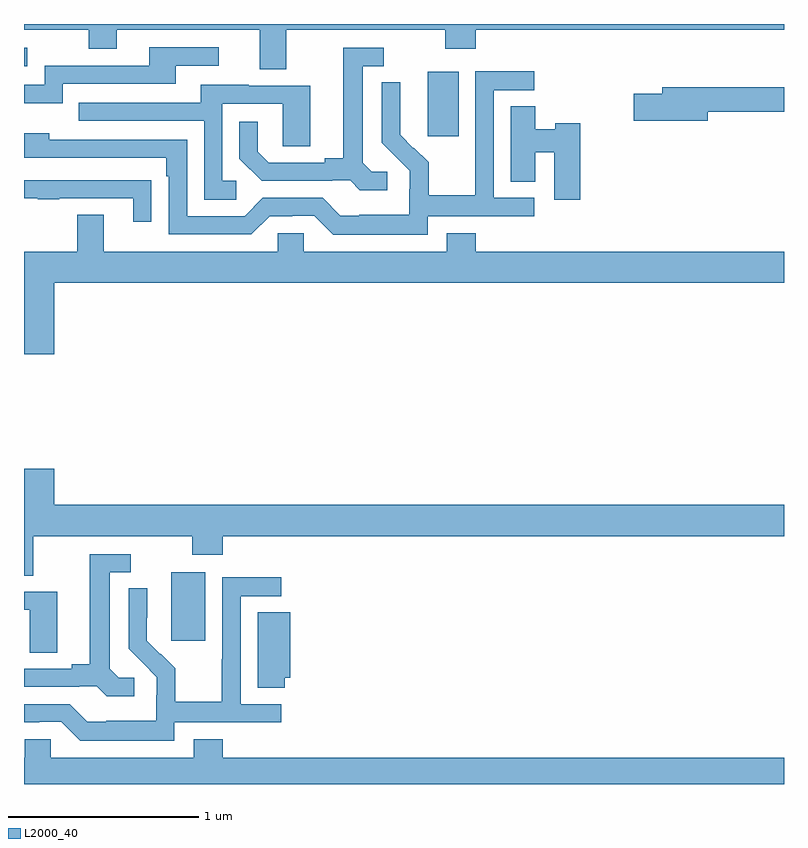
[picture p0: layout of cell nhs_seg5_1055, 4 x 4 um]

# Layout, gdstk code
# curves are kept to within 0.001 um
import gdstk
lib = gdstk.Library(unit=1e-6, precision=1e-09)
def R(c, l, rs):  # rectangles x0, y0, x1, y1
    for r in rs: c.add(gdstk.rectangle(r[:2], r[2:], *l))
def P(c, l, *ps):  # polygons
    for p in ps: c.add(gdstk.Polygon(p, *l))
L2000_40 = (2000, 40)

nhs_seg5_1055 = lib.new_cell('nhs_seg5_1055')
R(nhs_seg5_1055, L2000_40, [(177.776,845.553,177.955,845.914), (179.126,848.208,179.287,848.548), (177,848.577,177.016,848.673)])
P(nhs_seg5_1055, L2000_40, [(178.381,848.768),(179.218,848.768),(179.218,848.669),(179.378,848.669),(179.378,848.768),(181,848.768),(181,848.799),(177,848.799),(177,848.768),(177.34,848.768),(177.34,848.669),(177.487,848.669),(177.487,848.768),(178.241,848.768),(178.241,848.56),(178.381,848.56)],
  [(177.204,848.484),(177.799,848.484),(177.799,848.58),(178.024,848.58),(178.024,848.676),(177.659,848.676),(177.659,848.58),(177.108,848.58),(177.108,848.478),(177,848.478),(177,848.381),(177.204,848.381)],
  [(178.912,848.022),(178.83,848.022),(178.783,848.069),(178.783,848.577),(178.894,848.577),(178.894,848.673),(178.679,848.673),(178.679,848.093),(178.583,848.093),(178.583,848.07),(178.288,848.07),(178.231,848.127),(178.231,848.284),(178.134,848.284),(178.134,848.09),(178.25,847.974),(178.622,847.974),(178.622,847.977),(178.716,847.977),(178.768,847.925),(178.912,847.925)],
  [(179.124,847.788),(179.686,847.788),(179.686,847.884),(179.472,847.884),(179.472,848.451),(179.686,848.451),(179.686,848.55),(179.376,848.55),(179.376,848.12),(179.374,848.12),(179.374,847.897),(179.129,847.897),(179.129,848.071),(179.052,848.148),(179.049,848.145),(178.979,848.216),(178.979,848.32),(178.981,848.32),(178.981,848.492),(178.884,848.492),(178.884,848.174),(179.03,848.026),(179.03,847.929),(179.028,847.929),(179.028,847.795),(178.765,847.795),(178.765,847.791),(178.665,847.791),(178.572,847.884),(178.257,847.884),(178.161,847.788),(177.858,847.788),(177.858,848.19),(177.134,848.19),(177.134,848.224),(177,848.224),(177,848.094),(177.749,848.094),(177.749,847.997),(177.762,847.997),(177.762,847.692),(178.197,847.692),(178.293,847.788),(178.412,847.788),(178.412,847.791),(178.527,847.791),(178.627,847.691),(179.124,847.691)],
  [(178.117,847.974),(178.044,847.974),(178.044,848.379),(178.362,848.379),(178.362,848.155),(178.507,848.155),(178.507,848.475),(178.183,848.475),(178.183,848.479),(177.929,848.479),(177.929,848.385),(177.289,848.385),(177.289,848.289),(177.948,848.289),(177.948,847.873),(178.117,847.873)],
  [(180.598,848.338),(181,848.338),(181,848.467),(180.359,848.467),(180.359,848.433),(180.21,848.433),(180.21,848.291),(180.598,848.291)],
  [(179.927,848.276),(179.796,848.276),(179.796,848.245),(179.692,848.245),(179.692,848.366),(179.561,848.366),(179.561,847.969),(179.692,847.969),(179.692,848.123),(179.792,848.123),(179.792,847.875),(179.927,847.875)],
  [(177.671,847.976),(177.569,847.976),(177.569,847.977),(177,847.977),(177,847.881),(177.073,847.881),(177.073,847.876),(177.185,847.876),(177.185,847.881),(177.575,847.881),(177.575,847.758),(177.671,847.758)],
  [(177.16,847.436),(181,847.436),(181,847.6),(179.378,847.6),(179.378,847.699),(179.225,847.699),(179.225,847.6),(178.473,847.6),(178.473,847.698),(178.335,847.698),(178.335,847.6),(177.421,847.6),(177.421,847.795),(177.281,847.795),(177.281,847.6),(177,847.6),(177,847.062),(177.16,847.062)],
  [(177.049,846.104),(177.886,846.104),(177.886,846.005),(178.046,846.005),(178.046,846.104),(181,846.104),(181,846.268),(177.16,846.268),(177.16,846.457),(177,846.457),(177,845.896),(177.049,845.896)],
  [(177.58,845.358),(177.498,845.358),(177.451,845.405),(177.451,845.913),(177.562,845.913),(177.562,846.009),(177.347,846.009),(177.347,845.429),(177.251,845.429),(177.251,845.406),(177,845.406),(177,845.31),(177.29,845.31),(177.29,845.313),(177.384,845.313),(177.436,845.261),(177.58,845.261)],
  [(177.792,845.124),(178.354,845.124),(178.354,845.22),(178.14,845.22),(178.14,845.787),(178.354,845.787),(178.354,845.886),(178.044,845.886),(178.044,845.456),(178.042,845.456),(178.042,845.233),(177.797,845.233),(177.797,845.407),(177.72,845.484),(177.717,845.481),(177.647,845.552),(177.648,845.828),(177.552,845.828),(177.552,845.51),(177.698,845.362),(177.698,845.265),(177.696,845.265),(177.696,845.131),(177.433,845.131),(177.433,845.127),(177.333,845.127),(177.24,845.22),(177,845.22),(177,845.124),(177.08,845.124),(177.08,845.127),(177.195,845.127),(177.295,845.027),(177.792,845.027)],
  [(177.175,845.811),(177,845.811),(177,845.715),(177.03,845.715),(177.03,845.491),(177.175,845.491)],
  [(178.373,845.358),(178.4,845.358),(178.4,845.702),(178.229,845.702),(178.229,845.305),(178.373,845.305)],
  [(181,844.936),(178.046,844.936),(178.046,845.035),(177.893,845.035),(177.893,844.936),(177.141,844.936),(177.141,845.034),(177.003,845.034),(177.003,844.936),(177,844.936),(177,844.799),(181,844.799)])

lib.write_gds('nhs_seg5_1055.gds')
